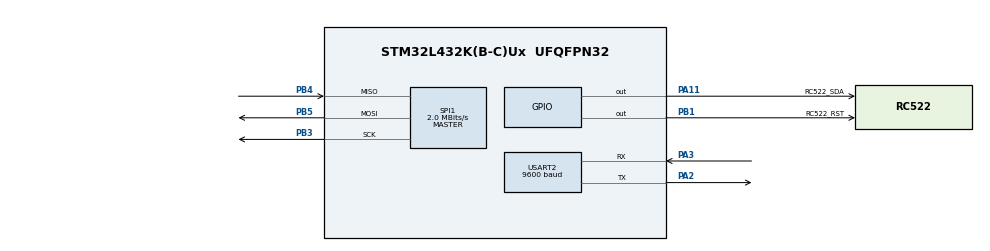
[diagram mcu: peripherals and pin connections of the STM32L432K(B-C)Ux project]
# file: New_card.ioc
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Mcu.Family=STM32L4
Mcu.Name=STM32L432K(B-C)Ux
Mcu.Package=UFQFPN32
NVIC.PriorityGroup=NVIC_PRIORITYGROUP_4
NVIC.SPI1_IRQn=true\:0\:0\:false\:false\:true\:true\:true
NVIC.USART2_IRQn=true\:0\:0\:false\:false\:true\:true\:true
PA0.Mode=HSE-External-Clock-Source-for-LittleOrca
PA0.Signal=RCC_CK_IN
PA11.GPIO_Label=RC522_SDA
PA11.GPIO_Speed=GPIO_SPEED_FREQ_HIGH
PA11.PinState=GPIO_PIN_RESET
PA11.Signal=GPIO_Output
PA2.Mode=Asynchronous
PA2.Signal=USART2_TX
PA3.Mode=Asynchronous
PA3.Signal=USART2_RX
PB1.GPIO_Label=RC522_RST
PB1.GPIO_Speed=GPIO_SPEED_FREQ_HIGH
PB1.Signal=GPIO_Output
PB3\ (JTDO-TRACESWO).Mode=Full_Duplex_Master
PB3\ (JTDO-TRACESWO).Signal=SPI1_SCK
PB4\ (NJTRST).Mode=Full_Duplex_Master
PB4\ (NJTRST).Signal=SPI1_MISO
PB5.Mode=Full_Duplex_Master
PB5.Signal=SPI1_MOSI
PC14-OSC32_IN\ (PC14).Mode=LSE-External-Oscillator
PC14-OSC32_IN\ (PC14).Signal=RCC_OSC32_IN
PC15-OSC32_OUT\ (PC15).Mode=LSE-External-Oscillator
PC15-OSC32_OUT\ (PC15).Signal=RCC_OSC32_OUT
ProjectManager.HeapSize=0x200
ProjectManager.StackSize=0x400
ProjectManager.TargetToolchain=STM32CubeIDE
RCC.HSE_VALUE=8000000
RCC.HSI48_VALUE=48000000
RCC.HSI_VALUE=16000000
RCC.MSI_VALUE=4000000
RCC.VCOOutputFreq_Value=32000000
SPI1.CalculateBaudRate=2.0 MBits/s
SPI1.Direction=SPI_DIRECTION_2LINES
SPI1.Mode=SPI_MODE_MASTER
SPI1.VirtualType=VM_MASTER
USART2.BaudRate=9600
USART2.VirtualMode-Asynchronous=VM_ASYNC
board=custom

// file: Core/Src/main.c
/* USER CODE BEGIN Header */
/**
  ******************************************************************************
  * @file           : main.c
  * @brief          : Main program body
  ******************************************************************************
  * @attention
  *
  * Copyright (c) 2022 STMicroelectronics.
  * All rights reserved.
  *
  * This software is licensed under terms that can be found in the LICENSE file
  * in the root directory of this software component.
  * If no LICENSE file comes with this software, it is provided AS-IS.
  *
  ******************************************************************************
  */
/* USER CODE END Header */
#include "main.h"
//#include "spi.h"

/* USER CODE BEGIN Includes */
#include <stdio.h>
//#include "rc522.h"
#include "retarget.h"
#include "mfrc522.h"
/* USER CODE END Includes */

SPI_HandleTypeDef hspi1;

UART_HandleTypeDef huart2;

/* USER CODE BEGIN PV */
uint8_t rx_buffer[20] = {0};
flag_test = 0;

uint8_t         i; //for
uint8_t         differentRFID; //czy nowe RFID jest inne? (multiple readings protect)
uint8_t         txBufInd;
uint8_t         comand;
uint8_t         txBuffer[18] = "ID: 00000000  "; //id w postaci char *
uint8_t         retstr[10]; //powrót z funkcji konwersji hex_dec
uint8_t         rxBuffer[8]; //ID w postacji stringu do odczytania (heksadecynalny)
uint8_t         lastID[4]; //poprzednio wczytany ID w postaci binarnej
uint8_t         str[MFRC522_MAX_LEN]; //aktualnie wczytany id w postaci binarnej (4 bajty, ale miejsca na 16)
/* USER CODE END PV */

void SystemClock_Config(void);
static void MX_GPIO_Init(void);
static void MX_USART2_UART_Init(void);
static void MX_SPI1_Init(void);
/* USER CODE BEGIN PFP */
#include <stdio.h>
#include <string.h>
volatile char t[100];
char buf_printf[100]; //max printf length
#define printfx(f_, ...) snprintf(buf_printf, 100, (f_), ##__VA_ARGS__); \
HAL_UART_Transmit(&huart3, (uint8_t*)buf_printf, strlen(buf_printf), 1000);

volatile uint8_t rc522interrupt = 0; // wystąpiło przerwanie RC522 trzeba obsłużyć w loop()

//FUNKCJE CZYTNIKA
uint8_t MFRC522_Check(uint8_t* id);
uint8_t MFRC522_Compare(uint8_t* CardID, uint8_t* CompareID);
void MFRC522_WriteRegister(uint8_t addr, uint8_t val);
uint8_t MFRC522_ReadRegister(uint8_t addr);
void MFRC522_SetBitMask(uint8_t reg, uint8_t mask);
void MFRC522_ClearBitMask(uint8_t reg, uint8_t mask);
uint8_t MFRC522_Request(uint8_t reqMode, uint8_t* TagType);
uint8_t MFRC522_ToCard(uint8_t command, uint8_t* sendData, uint8_t sendLen, uint8_t* backData, uint16_t* backLen);
uint8_t MFRC522_Anticoll(uint8_t* serNum);
void MFRC522_CalulateCRC(uint8_t* pIndata, uint8_t len, uint8_t* pOutData);
uint8_t MFRC522_SelectTag(uint8_t* serNum);
uint8_t MFRC522_Auth(uint8_t authMode, uint8_t BlockAddr, uint8_t* Sectorkey, uint8_t* serNum);
uint8_t MFRC522_Read(uint8_t blockAddr, uint8_t* recvData);
uint8_t MFRC522_Write(uint8_t blockAddr, uint8_t* writeData);
void MFRC522_Init(void);
void MFRC522_Reset(void);
void MFRC522_AntennaOn(void);
void MFRC522_AntennaOff(void);
void MFRC522_Halt(void);

//////////////

void char_to_hex(uint8_t data);
/* USER CODE END PFP */

int main(void)
{

  /* MCU Configuration--------------------------------------------------------*/

  /* Reset of all peripherals, Initializes the Flash interface and the Systick. */
  HAL_Init();

  /* Configure the system clock */
  SystemClock_Config();

  /* Initialize all configured peripherals */
  MX_GPIO_Init();
  MX_USART2_UART_Init();
  MX_SPI1_Init();
  /* USER CODE BEGIN 2 */
  RetargetInit(&huart2);
 // RC522_Init();
  HAL_UART_Transmit(&huart2, (uint8_t *)" UART pOLLING METHOD\r\n", sizeof(" UART pOLLING METHOD\r\n"), 300);
  /* USER CODE END 2 */

  /* Infinite loop */
  /* USER CODE BEGIN WHILE */
  while (1)
  {
	  //	  HAL_GPIO_WritePin(LD3_GPIO_Port,LD3_Pin, 1);
	  //	  HAL_Delay(500);
	  //	  HAL_GPIO_WritePin(LD3_GPIO_Port,LD3_Pin, 0);
	  //	  HAL_Delay(500);
//	  	  if(!flag_test)
//	  	  {
//	  		  HAL_UART_Transmit(&huart2,(uint8_t *) "UART2 Interrupt\r\n", sizeof("UART2 Interrupt\r\n"), 300);
//	  		  flag_test = 1;
//	  	  }
//	  	  uint8_t RC522version = MFRC522_ReadRegister(MFRC522_REG_VERSION);
//	  	  printf("RC522 Version (92 = version 2, 91 = version 1, ff = rst error): %#08x\r\n", RC522version );
//	      HAL_Delay(1000);
//	      printf("\r\nYes ");

		  //ReaderCard();

	  //	  HAL_UART_Receive(&huart2, rx_buffer,20, 300);
	  //	  HAL_UART_Transmit(&huart2, rx_buffer, 20, 300);
    /* USER CODE END WHILE */

    /* USER CODE BEGIN 3 */
	  uint8_t RC522version = MFRC522_ReadRegister(MFRC522_REG_VERSION);
	  printf("RC522 Version (92 = version 2, 91 = version 1, ff = rst error): %#08x\r\n", RC522version );
	  if (!MFRC522_Request(PICC_REQIDL, str))//str - nasz klucz //PICC_REQIDL find the antenna area does not enter hibernation
	                          {
	                                  if (!MFRC522_Anticoll(str))//str nasz klucz[16] ANTI COLLISION
	                                  {
	                                          //TU ODCZYTAł nowy klucz ID
	                                          differentRFID = 0; //bool czy kolejny wczytany klucz inny jest od poprzedniego? Tylko wtedy działaj (multiple readings)
	                                          txBufInd = 9; //indeks w stringu od którego piszemy ID: ...

	                                          for (i=0; i<4 && !differentRFID; i++)
	                                                  if (lastID[i] != str[i])
	                                                          differentRFID = 1; //sprawdzenie czy wczytany teraz klucz != poprzednio wczytanego

	                                          if (differentRFID)
	                                          { //to się wywołuje jeśli kod RFID jest inny nniż do tej pory
	                                                  for (i=0; i<4; i++)
	                                                          lastID[i] = str[i]; //zapamiętaj ostatni nowy ID w str
	                                                  for (i=0; i<4; i++)
	                                                  {
	                                                          char_to_hex(str[i]); //tu zapisuje w systemie 16 klucz do stringu z formatu bitowego na liczby 16 = 4 bajty
	                                                          txBuffer[txBufInd] = retstr[0]; //retstr to return string z funkcji char_to_hex
	                                                          txBufInd++;
	                                                          txBuffer[txBufInd] = retstr[1]; //retstr to return string z funkcji char_to_hex
	                                                          txBufInd++;
	                                                  }
	                                                  printf("RFID: %s \n\r", (char *)txBuffer);
	                                                  //HAL_UART_Transmit(&huart3, txBuffer, 18, 100);
	                                          }

	                                  }
	                          }

	                          HAL_Delay(10);

  }
  /* USER CODE END 3 */
}

void SystemClock_Config(void)
{
  RCC_OscInitTypeDef RCC_OscInitStruct = {0};
  RCC_ClkInitTypeDef RCC_ClkInitStruct = {0};

  /** Configure the main internal regulator output voltage
  */
  if (HAL_PWREx_ControlVoltageScaling(PWR_REGULATOR_VOLTAGE_SCALE1) != HAL_OK)
  {
    Error_Handler();
  }
  /** Configure LSE Drive Capability
  */
  HAL_PWR_EnableBkUpAccess();
  __HAL_RCC_LSEDRIVE_CONFIG(RCC_LSEDRIVE_LOW);
  /** Initializes the RCC Oscillators according to the specified parameters
  * in the RCC_OscInitTypeDef structure.
  */
  RCC_OscInitStruct.OscillatorType = RCC_OSCILLATORTYPE_LSE|RCC_OSCILLATORTYPE_MSI;
  RCC_OscInitStruct.LSEState = RCC_LSE_ON;
  RCC_OscInitStruct.MSIState = RCC_MSI_ON;
  RCC_OscInitStruct.MSICalibrationValue = 0;
  RCC_OscInitStruct.MSIClockRange = RCC_MSIRANGE_6;
  RCC_OscInitStruct.PLL.PLLState = RCC_PLL_NONE;
  if (HAL_RCC_OscConfig(&RCC_OscInitStruct) != HAL_OK)
  {
    Error_Handler();
  }
  /** Initializes the CPU, AHB and APB buses clocks
  */
  RCC_ClkInitStruct.ClockType = RCC_CLOCKTYPE_HCLK|RCC_CLOCKTYPE_SYSCLK
                              |RCC_CLOCKTYPE_PCLK1|RCC_CLOCKTYPE_PCLK2;
  RCC_ClkInitStruct.SYSCLKSource = RCC_SYSCLKSOURCE_MSI;
  RCC_ClkInitStruct.AHBCLKDivider = RCC_SYSCLK_DIV1;
  RCC_ClkInitStruct.APB1CLKDivider = RCC_HCLK_DIV1;
  RCC_ClkInitStruct.APB2CLKDivider = RCC_HCLK_DIV1;

  if (HAL_RCC_ClockConfig(&RCC_ClkInitStruct, FLASH_LATENCY_0) != HAL_OK)
  {
    Error_Handler();
  }
  /** Enable MSI Auto calibration
  */
  HAL_RCCEx_EnableMSIPLLMode();
}

static void MX_SPI1_Init(void)
{

  /* SPI1 parameter configuration*/
  hspi1.Instance = SPI1;
  hspi1.Init.Mode = SPI_MODE_MASTER;
  hspi1.Init.Direction = SPI_DIRECTION_2LINES;
  hspi1.Init.DataSize = SPI_DATASIZE_4BIT;
  hspi1.Init.CLKPolarity = SPI_POLARITY_LOW;
  hspi1.Init.CLKPhase = SPI_PHASE_1EDGE;
  hspi1.Init.NSS = SPI_NSS_SOFT;
  hspi1.Init.BaudRatePrescaler = SPI_BAUDRATEPRESCALER_2;
  hspi1.Init.FirstBit = SPI_FIRSTBIT_MSB;
  hspi1.Init.TIMode = SPI_TIMODE_DISABLE;
  hspi1.Init.CRCCalculation = SPI_CRCCALCULATION_DISABLE;
  hspi1.Init.CRCPolynomial = 7;
  hspi1.Init.CRCLength = SPI_CRC_LENGTH_DATASIZE;
  hspi1.Init.NSSPMode = SPI_NSS_PULSE_ENABLE;
  if (HAL_SPI_Init(&hspi1) != HAL_OK)
  {
    Error_Handler();
  }

}

static void MX_USART2_UART_Init(void)
{

  huart2.Instance = USART2;
  huart2.Init.BaudRate = 9600;
  huart2.Init.WordLength = UART_WORDLENGTH_8B;
  huart2.Init.StopBits = UART_STOPBITS_1;
  huart2.Init.Parity = UART_PARITY_NONE;
  huart2.Init.Mode = UART_MODE_TX_RX;
  huart2.Init.HwFlowCtl = UART_HWCONTROL_NONE;
  huart2.Init.OverSampling = UART_OVERSAMPLING_16;
  huart2.Init.OneBitSampling = UART_ONE_BIT_SAMPLE_DISABLE;
  huart2.AdvancedInit.AdvFeatureInit = UART_ADVFEATURE_NO_INIT;
  if (HAL_UART_Init(&huart2) != HAL_OK)
  {
    Error_Handler();
  }
  /* USER CODE BEGIN USART2_Init 2 */
  USART2->CR1 |= (USART_CR1_TE | USART_CR1_RXNEIE | USART_CR1_RE | USART_CR1_UE);
  /* USER CODE END USART2_Init 2 */

}

static void MX_GPIO_Init(void)
{
  GPIO_InitTypeDef GPIO_InitStruct = {0};

  /* GPIO Ports Clock Enable */
  __HAL_RCC_GPIOC_CLK_ENABLE();
  __HAL_RCC_GPIOA_CLK_ENABLE();
  __HAL_RCC_GPIOB_CLK_ENABLE();

  /*Configure GPIO pin Output Level */
  HAL_GPIO_WritePin(RC522_RST_GPIO_Port, RC522_RST_Pin, GPIO_PIN_RESET);

  /*Configure GPIO pin Output Level */
  HAL_GPIO_WritePin(RC522_SDA_GPIO_Port, RC522_SDA_Pin, GPIO_PIN_RESET);

  /*Configure GPIO pin : RC522_RST_Pin */
  GPIO_InitStruct.Pin = RC522_RST_Pin;
  GPIO_InitStruct.Mode = GPIO_MODE_OUTPUT_PP;
  GPIO_InitStruct.Pull = GPIO_NOPULL;
  GPIO_InitStruct.Speed = GPIO_SPEED_FREQ_HIGH;
  HAL_GPIO_Init(RC522_RST_GPIO_Port, &GPIO_InitStruct);

  /*Configure GPIO pin : RC522_SDA_Pin */
  GPIO_InitStruct.Pin = RC522_SDA_Pin;
  GPIO_InitStruct.Mode = GPIO_MODE_OUTPUT_PP;
  GPIO_InitStruct.Pull = GPIO_NOPULL;
  GPIO_InitStruct.Speed = GPIO_SPEED_FREQ_HIGH;
  HAL_GPIO_Init(RC522_SDA_GPIO_Port, &GPIO_InitStruct);
  HAL_GPIO_WritePin(GPIOB, RC522_RST_Pin, GPIO_PIN_SET); //domyślnie RESET będzie i dlatego nie działa.

}

/* USER CODE BEGIN 4 */
// char number to string hex (FF) (Only big letters!)
void char_to_hex(uint8_t data) {
        uint8_t digits[] = {'0','1','2','3','4','5','6','7','8','9','A','B','C','D','E','F'};

        if (data < 16) {
                retstr[0] = '0';
                retstr[1] = digits[data];
        } else {
                retstr[0] = digits[(data & 0xF0)>>4];
                retstr[1] = digits[(data & 0x0F)];
        }
}

void irqHandlerRC522(void)
{//niepodłączone
   rc522interrupt = 1;
}
/* USER CODE END 4 */

void Error_Handler(void)
{
  __disable_irq();
  while (1)
  {
  }
}
